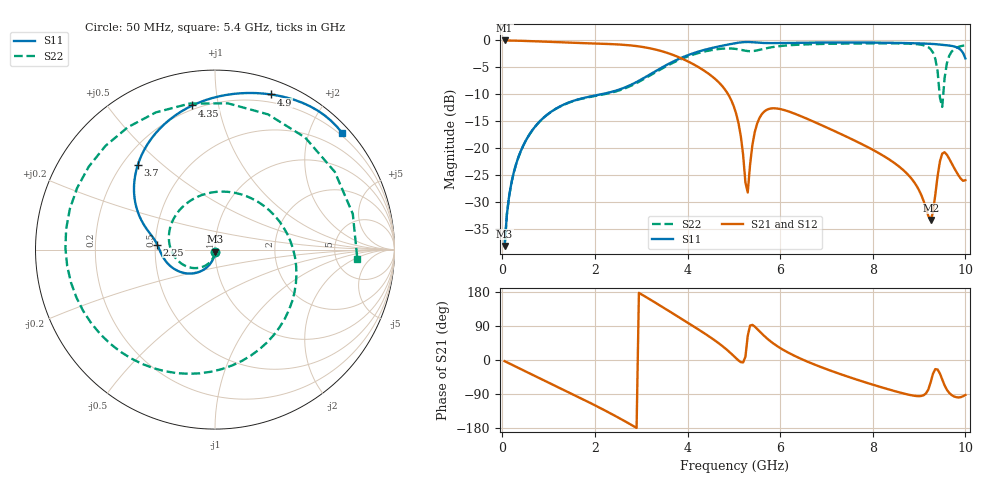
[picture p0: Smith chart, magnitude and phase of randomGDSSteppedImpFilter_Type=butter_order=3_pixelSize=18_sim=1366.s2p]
! freq	dB(S11)	phase(S11)	dB(S12)	phase(S12)
!  dB(S21)	phase(S21)	dB(S22)	phase(S22)
!S-par simulation data
#  GHz  S  DB  R 50
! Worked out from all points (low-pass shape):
!   200 points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, 50 MHz to 10 GHz, reference 50 ohm
!   highest |S21| = -0.01 dB at 50 MHz (marker M1); lowest = -33.4 dB at 9.25 GHz (marker M2)
!   |S21| within 3 dB of the highest: start of sweep to 3.778 GHz
!   lowest |S11| = -38.3 dB at 50 MHz (marker M3), VSWR 1.02, Z = 50 - j1.22 ohm
!   |S11| at or under -10 dB: start of sweep to 2.148 GHz
!   |S22| runs from -38.3 to -0.5 dB; largest |S21 - S12| = 0
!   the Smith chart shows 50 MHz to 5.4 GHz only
!   S11 on the Smith chart (normalised r, x): 50 MHz: 1.00, -0.02; 2.25 GHz: 0.51, +0.03; 3.7 GHz: 0.26, +0.42; 4.35 GHz: 0.18, +0.84; 4.9 GHz: 0.13, +1.42; 5.4 GHz: 0.15, +2.55
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0.05  -38.25 -88.8  -0.01 -3.0  -0.01 -3.0  -38.27 -89.6
0.2  -26.37 -100.0  -0.03 -12.1  -0.03 -12.1  -26.39 -103.2
0.5  -18.75 -116.2  -0.10 -30.0  -0.10 -30.0  -18.78 -124.6
1.75  -10.72 -171.1  -0.51 -104.2  -0.51 -104.2  -10.78 141.3
2.25  -9.81 175.0  -0.65 -135.3  -0.65 -135.3  -9.92 93.0
3.4  -5.27 145.7  -1.90 144.2  -1.90 144.2  -5.48 -39.3
3.7  -3.89 132.3  -2.75 121.6  -2.75 121.6  -4.11 -71.3
4.35  -1.80 98.9  -5.58 71.5  -5.58 71.5  -2.10 -138.1
4.9  -0.73 70.1  -10.38 21.7  -10.38 21.7  -1.50 146.7
5.05  -0.50 62.1  -13.63 4.4  -13.63 4.4  -1.59 113.3
5.3  -0.30 48.0  -28.30 63.8  -28.30 63.8  -1.99 33.0
5.4  -0.34 42.7  -19.48 92.6  -19.48 92.6  -2.00 -3.6
5.55  -0.44 35.5  -14.49 76.3  -14.49 76.3  -1.77 -51.3
5.75  -0.51 27.0  -12.77 53.4  -12.77 53.4  -1.38 -96.0
6.15  -0.48 11.0  -13.12 21.1  -13.12 21.1  -0.93 -147.7
6.7  -0.41 -10.0  -15.03 -9.9  -15.03 -9.9  -0.70 170.2
8.35  -0.44 -64.5  -22.12 -77.8  -22.12 -77.8  -0.55 81.9
9.25  -0.64 -91.8  -33.42 -58.8  -33.42 -58.8  -1.64 23.2
9.4  -0.74 -96.7  -25.23 -25.0  -25.23 -25.0  -5.77 0.5
9.5  -0.84 -99.8  -21.05 -51.6  -21.05 -51.6  -12.37 57.1
9.65  -0.96 -105.0  -22.00 -86.7  -22.00 -86.7  -2.88 59.2
10  -3.36 -123.5  -26.00 -92.2  -26.00 -92.2  -0.93 28.3
